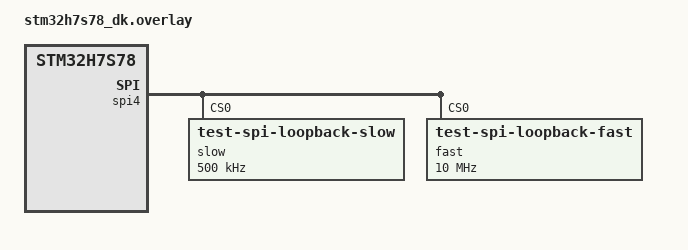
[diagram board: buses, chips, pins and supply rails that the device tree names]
/*
 * Copyright (c) 2024 STMicroelectronics
 *
 * SPDX-License-Identifier: Apache-2.0
 */
&sram0 {
		compatible = "zephyr,memory-region", "mmio-sram";
		zephyr,memory-region = "SRAM0";
		zephyr,memory-attr = <( DT_MEM_ARM_MPU_RAM_NOCACHE )>;
};

&spi4 {
	/* DMA requests 57 & 58 for the spi4 */
	dmas = <&gpdma1 0 58 STM32_DMA_PERIPH_TX
		&gpdma1 2 57 STM32_DMA_PERIPH_RX>;
	dma-names = "tx", "rx";

	slow@0 {
		compatible = "test-spi-loopback-slow";
		reg = <0>;
		spi-max-frequency = <500000>;
	};
	fast@0 {
		compatible = "test-spi-loopback-fast";
		reg = <0>;
		spi-max-frequency = <10000000>;
	};
};

&gpdma1 {
	status = "okay";
};
